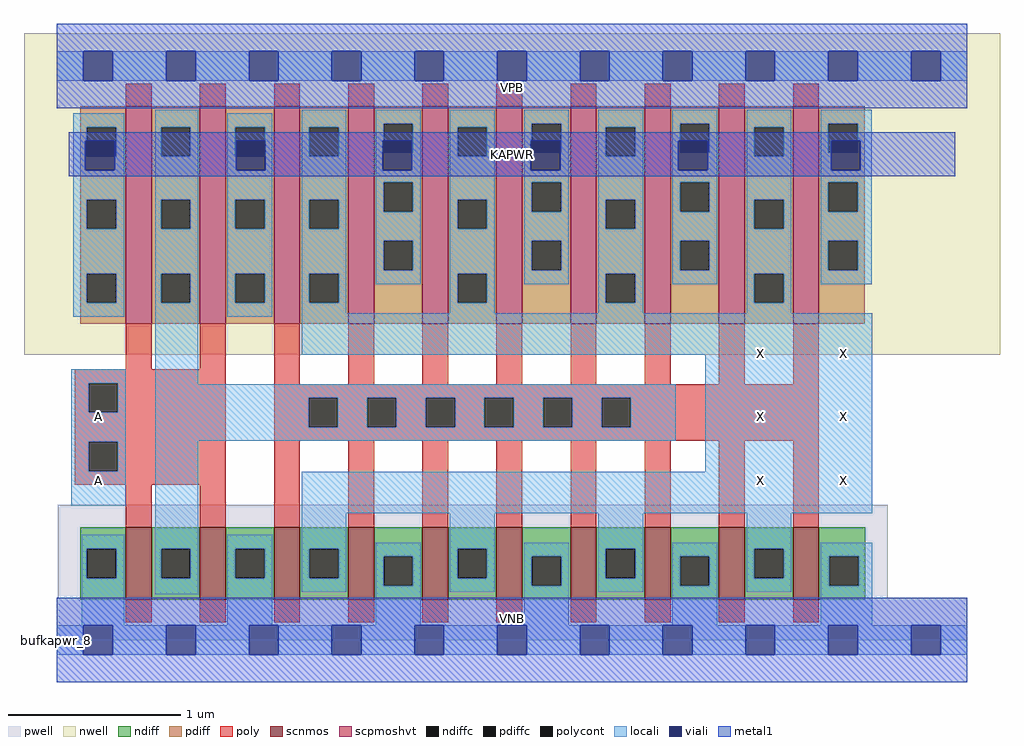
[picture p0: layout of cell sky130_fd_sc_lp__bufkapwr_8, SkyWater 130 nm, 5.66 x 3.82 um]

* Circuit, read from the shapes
.subckt sky130_fd_sc_lp__bufkapwr_8 A KAPWR VGND VNB VPB VPWR X
XM1 n1 A VGND VNB sky130_fd_pr__nfet_01v8 w=0.42 l=0.15 m=2
XM2 X n1 VGND VNB sky130_fd_pr__nfet_01v8 w=0.42 l=0.15 m=8
XM3 n1 A KAPWR VPB sky130_fd_pr__pfet_01v8_hvt w=1.26 l=0.15 m=2
XM4 X n1 KAPWR VPB sky130_fd_pr__pfet_01v8_hvt w=1.26 l=0.15 m=8
.ends

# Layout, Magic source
magic
tech sky130A
magscale 1 2
<< nwell >>
rect -38 331 1094 704
<< pwell >>
rect 1 49 964 157
rect 0 0 1056 49
<< scnmos >>
rect 80 47 110 131
rect 166 47 196 131
rect 252 47 282 131
rect 338 47 368 131
rect 424 47 454 131
rect 510 47 540 131
rect 596 47 626 131
rect 682 47 712 131
rect 768 47 798 131
rect 854 47 884 131
<< scpmoshvt >>
rect 80 367 110 619
rect 166 367 196 619
rect 252 367 282 619
rect 338 367 368 619
rect 424 367 454 619
rect 510 367 540 619
rect 596 367 626 619
rect 682 367 712 619
rect 768 367 798 619
rect 854 367 884 619
<< ndiff >>
rect 27 106 80 131
rect 27 72 35 106
rect 69 72 80 106
rect 27 47 80 72
rect 110 106 166 131
rect 110 72 121 106
rect 155 72 166 106
rect 110 47 166 72
rect 196 106 252 131
rect 196 72 207 106
rect 241 72 252 106
rect 196 47 252 72
rect 282 106 338 131
rect 282 72 293 106
rect 327 72 338 106
rect 282 47 338 72
rect 368 97 424 131
rect 368 63 379 97
rect 413 63 424 97
rect 368 47 424 63
rect 454 106 510 131
rect 454 72 465 106
rect 499 72 510 106
rect 454 47 510 72
rect 540 97 596 131
rect 540 63 551 97
rect 585 63 596 97
rect 540 47 596 63
rect 626 106 682 131
rect 626 72 637 106
rect 671 72 682 106
rect 626 47 682 72
rect 712 97 768 131
rect 712 63 723 97
rect 757 63 768 97
rect 712 47 768 63
rect 798 106 854 131
rect 798 72 809 106
rect 843 72 854 106
rect 798 47 854 72
rect 884 97 938 131
rect 884 63 896 97
rect 930 63 938 97
rect 884 47 938 63
<< pdiff >>
rect 27 595 80 619
rect 27 561 35 595
rect 69 561 80 595
rect 27 511 80 561
rect 27 477 35 511
rect 69 477 80 511
rect 27 425 80 477
rect 27 391 35 425
rect 69 391 80 425
rect 27 367 80 391
rect 110 595 166 619
rect 110 561 121 595
rect 155 561 166 595
rect 110 511 166 561
rect 110 477 121 511
rect 155 477 166 511
rect 110 425 166 477
rect 110 391 121 425
rect 155 391 166 425
rect 110 367 166 391
rect 196 595 252 619
rect 196 561 207 595
rect 241 561 252 595
rect 196 511 252 561
rect 196 477 207 511
rect 241 477 252 511
rect 196 425 252 477
rect 196 391 207 425
rect 241 391 252 425
rect 196 367 252 391
rect 282 595 338 619
rect 282 561 293 595
rect 327 561 338 595
rect 282 511 338 561
rect 282 477 293 511
rect 327 477 338 511
rect 282 425 338 477
rect 282 391 293 425
rect 327 391 338 425
rect 282 367 338 391
rect 368 599 424 619
rect 368 565 379 599
rect 413 565 424 599
rect 368 531 424 565
rect 368 497 379 531
rect 413 497 424 531
rect 368 463 424 497
rect 368 429 379 463
rect 413 429 424 463
rect 368 367 424 429
rect 454 595 510 619
rect 454 561 465 595
rect 499 561 510 595
rect 454 511 510 561
rect 454 477 465 511
rect 499 477 510 511
rect 454 425 510 477
rect 454 391 465 425
rect 499 391 510 425
rect 454 367 510 391
rect 540 599 596 619
rect 540 565 551 599
rect 585 565 596 599
rect 540 531 596 565
rect 540 497 551 531
rect 585 497 596 531
rect 540 463 596 497
rect 540 429 551 463
rect 585 429 596 463
rect 540 367 596 429
rect 626 595 682 619
rect 626 561 637 595
rect 671 561 682 595
rect 626 511 682 561
rect 626 477 637 511
rect 671 477 682 511
rect 626 425 682 477
rect 626 391 637 425
rect 671 391 682 425
rect 626 367 682 391
rect 712 599 768 619
rect 712 565 723 599
rect 757 565 768 599
rect 712 531 768 565
rect 712 497 723 531
rect 757 497 768 531
rect 712 463 768 497
rect 712 429 723 463
rect 757 429 768 463
rect 712 367 768 429
rect 798 595 854 619
rect 798 561 809 595
rect 843 561 854 595
rect 798 511 854 561
rect 798 477 809 511
rect 843 477 854 511
rect 798 425 854 477
rect 798 391 809 425
rect 843 391 854 425
rect 798 367 854 391
rect 884 599 937 619
rect 884 565 895 599
rect 929 565 937 599
rect 884 531 937 565
rect 884 497 895 531
rect 929 497 937 531
rect 884 463 937 497
rect 884 429 895 463
rect 929 429 937 463
rect 884 367 937 429
<< ndiffc >>
rect 35 72 69 106
rect 121 72 155 106
rect 207 72 241 106
rect 293 72 327 106
rect 379 63 413 97
rect 465 72 499 106
rect 551 63 585 97
rect 637 72 671 106
rect 723 63 757 97
rect 809 72 843 106
rect 896 63 930 97
<< pdiffc >>
rect 35 561 69 595
rect 35 477 69 511
rect 35 391 69 425
rect 121 561 155 595
rect 121 477 155 511
rect 121 391 155 425
rect 207 561 241 595
rect 207 477 241 511
rect 207 391 241 425
rect 293 561 327 595
rect 293 477 327 511
rect 293 391 327 425
rect 379 565 413 599
rect 379 497 413 531
rect 379 429 413 463
rect 465 561 499 595
rect 465 477 499 511
rect 465 391 499 425
rect 551 565 585 599
rect 551 497 585 531
rect 551 429 585 463
rect 637 561 671 595
rect 637 477 671 511
rect 637 391 671 425
rect 723 565 757 599
rect 723 497 757 531
rect 723 429 757 463
rect 809 561 843 595
rect 809 477 843 511
rect 809 391 843 425
rect 895 565 929 599
rect 895 497 929 531
rect 895 429 929 463
<< poly >>
rect 80 619 110 645
rect 166 619 196 645
rect 252 619 282 645
rect 338 619 368 645
rect 424 619 454 645
rect 510 619 540 645
rect 596 619 626 645
rect 682 619 712 645
rect 768 619 798 645
rect 854 619 884 645
rect 80 314 110 367
rect 166 314 196 367
rect 21 298 196 314
rect 21 264 37 298
rect 71 264 196 298
rect 21 230 196 264
rect 21 196 37 230
rect 71 196 196 230
rect 21 180 196 196
rect 80 131 110 180
rect 166 131 196 180
rect 252 297 282 367
rect 338 297 368 367
rect 424 297 454 367
rect 510 297 540 367
rect 596 297 626 367
rect 682 297 712 367
rect 768 297 798 367
rect 854 297 884 367
rect 252 281 884 297
rect 252 247 292 281
rect 326 247 360 281
rect 394 247 428 281
rect 462 247 496 281
rect 530 247 564 281
rect 598 247 632 281
rect 666 247 884 281
rect 252 231 884 247
rect 252 131 282 231
rect 338 131 368 231
rect 424 131 454 231
rect 510 131 540 231
rect 596 131 626 231
rect 682 131 712 231
rect 768 131 798 231
rect 854 131 884 231
rect 80 21 110 47
rect 166 21 196 47
rect 252 21 282 47
rect 338 21 368 47
rect 424 21 454 47
rect 510 21 540 47
rect 596 21 626 47
rect 682 21 712 47
rect 768 21 798 47
rect 854 21 884 47
<< polycont >>
rect 37 264 71 298
rect 37 196 71 230
rect 292 247 326 281
rect 360 247 394 281
rect 428 247 462 281
rect 496 247 530 281
rect 564 247 598 281
rect 632 247 666 281
<< locali >>
rect 0 649 31 683
rect 65 649 127 683
rect 161 649 223 683
rect 257 649 319 683
rect 353 649 415 683
rect 449 649 511 683
rect 545 649 607 683
rect 641 649 703 683
rect 737 649 799 683
rect 833 649 895 683
rect 929 649 991 683
rect 1025 649 1056 683
rect 19 595 78 611
rect 19 579 35 595
rect 19 545 33 579
rect 69 561 78 595
rect 67 545 78 561
rect 19 511 78 545
rect 19 477 35 511
rect 69 477 78 511
rect 19 425 78 477
rect 19 391 35 425
rect 69 391 78 425
rect 19 375 78 391
rect 114 595 164 615
rect 114 561 121 595
rect 155 561 164 595
rect 114 511 164 561
rect 114 477 121 511
rect 155 477 164 511
rect 114 425 164 477
rect 114 391 121 425
rect 155 391 164 425
rect 17 298 80 314
rect 17 264 37 298
rect 71 264 80 298
rect 17 230 80 264
rect 17 196 37 230
rect 71 196 80 230
rect 17 156 80 196
rect 114 297 164 391
rect 198 595 250 611
rect 198 561 207 595
rect 241 579 250 595
rect 198 545 208 561
rect 242 545 250 579
rect 198 511 250 545
rect 198 477 207 511
rect 241 477 250 511
rect 198 425 250 477
rect 198 391 207 425
rect 241 391 250 425
rect 198 375 250 391
rect 284 595 336 615
rect 284 561 293 595
rect 327 561 336 595
rect 284 511 336 561
rect 284 477 293 511
rect 327 477 336 511
rect 284 425 336 477
rect 284 391 293 425
rect 327 391 336 425
rect 370 599 422 615
rect 370 579 379 599
rect 370 545 378 579
rect 413 565 422 599
rect 412 545 422 565
rect 370 531 422 545
rect 370 497 379 531
rect 413 497 422 531
rect 370 463 422 497
rect 370 429 379 463
rect 413 429 422 463
rect 370 413 422 429
rect 456 595 508 615
rect 456 561 465 595
rect 499 561 508 595
rect 456 511 508 561
rect 456 477 465 511
rect 499 477 508 511
rect 456 425 508 477
rect 284 379 336 391
rect 456 391 465 425
rect 499 391 508 425
rect 542 599 594 615
rect 542 579 551 599
rect 542 545 550 579
rect 585 565 594 599
rect 584 545 594 565
rect 542 531 594 545
rect 542 497 551 531
rect 585 497 594 531
rect 542 463 594 497
rect 542 429 551 463
rect 585 429 594 463
rect 542 413 594 429
rect 628 595 680 615
rect 628 561 637 595
rect 671 561 680 595
rect 628 511 680 561
rect 628 477 637 511
rect 671 477 680 511
rect 628 425 680 477
rect 456 379 508 391
rect 628 391 637 425
rect 671 391 680 425
rect 714 599 766 615
rect 714 579 723 599
rect 714 545 721 579
rect 757 565 766 599
rect 755 545 766 565
rect 714 531 766 545
rect 714 497 723 531
rect 757 497 766 531
rect 714 463 766 497
rect 714 429 723 463
rect 757 429 766 463
rect 714 413 766 429
rect 800 595 852 615
rect 800 561 809 595
rect 843 561 852 595
rect 800 511 852 561
rect 800 477 809 511
rect 843 477 852 511
rect 800 425 852 477
rect 628 379 680 391
rect 800 391 809 425
rect 843 391 852 425
rect 886 599 945 615
rect 886 565 895 599
rect 929 579 945 599
rect 886 545 898 565
rect 932 545 945 579
rect 886 531 945 545
rect 886 497 895 531
rect 929 497 945 531
rect 886 463 945 497
rect 886 429 895 463
rect 929 429 945 463
rect 886 413 945 429
rect 800 379 852 391
rect 284 331 946 379
rect 114 281 718 297
rect 114 247 292 281
rect 326 247 360 281
rect 394 247 428 281
rect 462 247 496 281
rect 530 247 564 281
rect 598 247 632 281
rect 666 247 718 281
rect 114 231 718 247
rect 29 106 78 122
rect 29 72 35 106
rect 69 72 78 106
rect 29 17 78 72
rect 114 106 164 231
rect 752 195 946 331
rect 284 147 946 195
rect 114 72 121 106
rect 155 72 164 106
rect 114 53 164 72
rect 198 106 250 122
rect 198 72 207 106
rect 241 72 250 106
rect 198 17 250 72
rect 284 106 336 147
rect 284 72 293 106
rect 327 72 336 106
rect 284 56 336 72
rect 370 97 422 113
rect 370 63 379 97
rect 413 63 422 97
rect 370 17 422 63
rect 456 106 508 147
rect 456 72 465 106
rect 499 72 508 106
rect 456 56 508 72
rect 542 97 594 113
rect 542 63 551 97
rect 585 63 594 97
rect 542 17 594 63
rect 628 106 680 147
rect 628 72 637 106
rect 671 72 680 106
rect 628 56 680 72
rect 714 97 766 113
rect 714 63 723 97
rect 757 63 766 97
rect 714 17 766 63
rect 800 106 852 147
rect 800 72 809 106
rect 843 72 852 106
rect 800 56 852 72
rect 886 97 946 113
rect 886 63 896 97
rect 930 63 946 97
rect 886 17 946 63
rect 0 -17 31 17
rect 65 -17 127 17
rect 161 -17 223 17
rect 257 -17 319 17
rect 353 -17 415 17
rect 449 -17 511 17
rect 545 -17 607 17
rect 641 -17 703 17
rect 737 -17 799 17
rect 833 -17 895 17
rect 929 -17 991 17
rect 1025 -17 1056 17
<< viali >>
rect 31 649 65 683
rect 127 649 161 683
rect 223 649 257 683
rect 319 649 353 683
rect 415 649 449 683
rect 511 649 545 683
rect 607 649 641 683
rect 703 649 737 683
rect 799 649 833 683
rect 895 649 929 683
rect 991 649 1025 683
rect 33 561 35 579
rect 35 561 67 579
rect 33 545 67 561
rect 208 561 241 579
rect 241 561 242 579
rect 208 545 242 561
rect 378 565 379 579
rect 379 565 412 579
rect 378 545 412 565
rect 550 565 551 579
rect 551 565 584 579
rect 550 545 584 565
rect 721 565 723 579
rect 723 565 755 579
rect 721 545 755 565
rect 898 565 929 579
rect 929 565 932 579
rect 898 545 932 565
rect 31 -17 65 17
rect 127 -17 161 17
rect 223 -17 257 17
rect 319 -17 353 17
rect 415 -17 449 17
rect 511 -17 545 17
rect 607 -17 641 17
rect 703 -17 737 17
rect 799 -17 833 17
rect 895 -17 929 17
rect 991 -17 1025 17
<< metal1 >>
rect 0 683 1056 715
rect 0 649 31 683
rect 65 649 127 683
rect 161 649 223 683
rect 257 649 319 683
rect 353 649 415 683
rect 449 649 511 683
rect 545 649 607 683
rect 641 649 703 683
rect 737 649 799 683
rect 833 649 895 683
rect 929 649 991 683
rect 1025 649 1056 683
rect 0 617 1056 649
rect 14 579 1042 589
rect 14 545 33 579
rect 67 545 208 579
rect 242 545 378 579
rect 412 545 550 579
rect 584 545 721 579
rect 755 545 898 579
rect 932 545 1042 579
rect 14 538 1042 545
rect 0 17 1056 49
rect 0 -17 31 17
rect 65 -17 127 17
rect 161 -17 223 17
rect 257 -17 319 17
rect 353 -17 415 17
rect 449 -17 511 17
rect 545 -17 607 17
rect 641 -17 703 17
rect 737 -17 799 17
rect 833 -17 895 17
rect 929 -17 991 17
rect 1025 -17 1056 17
rect 0 -49 1056 -17
<< labels >>
flabel pwell s 0 0 1056 49 0 FreeSans 200 0 0 0 VNB
port 4 nsew ground bidirectional
flabel nwell s 0 617 1056 666 0 FreeSans 200 0 0 0 VPB
port 5 nsew power bidirectional
rlabel comment s 0 0 0 0 4 bufkapwr_8
flabel metal1 s 0 617 1056 666 0 FreeSans 340 0 0 0 VPWR
port 6 nsew power bidirectional
flabel metal1 s 0 0 1056 49 0 FreeSans 340 0 0 0 VGND
port 3 nsew ground bidirectional
flabel metal1 s 14 538 1042 589 0 FreeSans 200 0 0 0 KAPWR
port 2 nsew power bidirectional
flabel locali s 31 168 65 202 0 FreeSans 340 0 0 0 A
port 1 nsew signal input
flabel locali s 799 316 833 350 0 FreeSans 340 0 0 0 X
port 7 nsew signal output
flabel locali s 799 168 833 202 0 FreeSans 340 0 0 0 X
port 7 nsew signal output
flabel locali s 799 242 833 276 0 FreeSans 340 0 0 0 X
port 7 nsew signal output
flabel locali s 31 242 65 276 0 FreeSans 340 0 0 0 A
port 1 nsew signal input
flabel locali s 895 316 929 350 0 FreeSans 340 0 0 0 X
port 7 nsew signal output
flabel locali s 895 242 929 276 0 FreeSans 340 0 0 0 X
port 7 nsew signal output
flabel locali s 895 168 929 202 0 FreeSans 340 0 0 0 X
port 7 nsew signal output
<< properties >>
string LEFsite unit
string LEFclass CORE
string FIXED_BBOX 0 0 1056 666
string GDS_FILE $PDKPATH/libs.ref/sky130_fd_sc_lp/gds/sky130_fd_sc_lp.gds
string LEFsymmetry X Y
string GDS_END 2549290
string GDS_START 2539800
<< end >>
